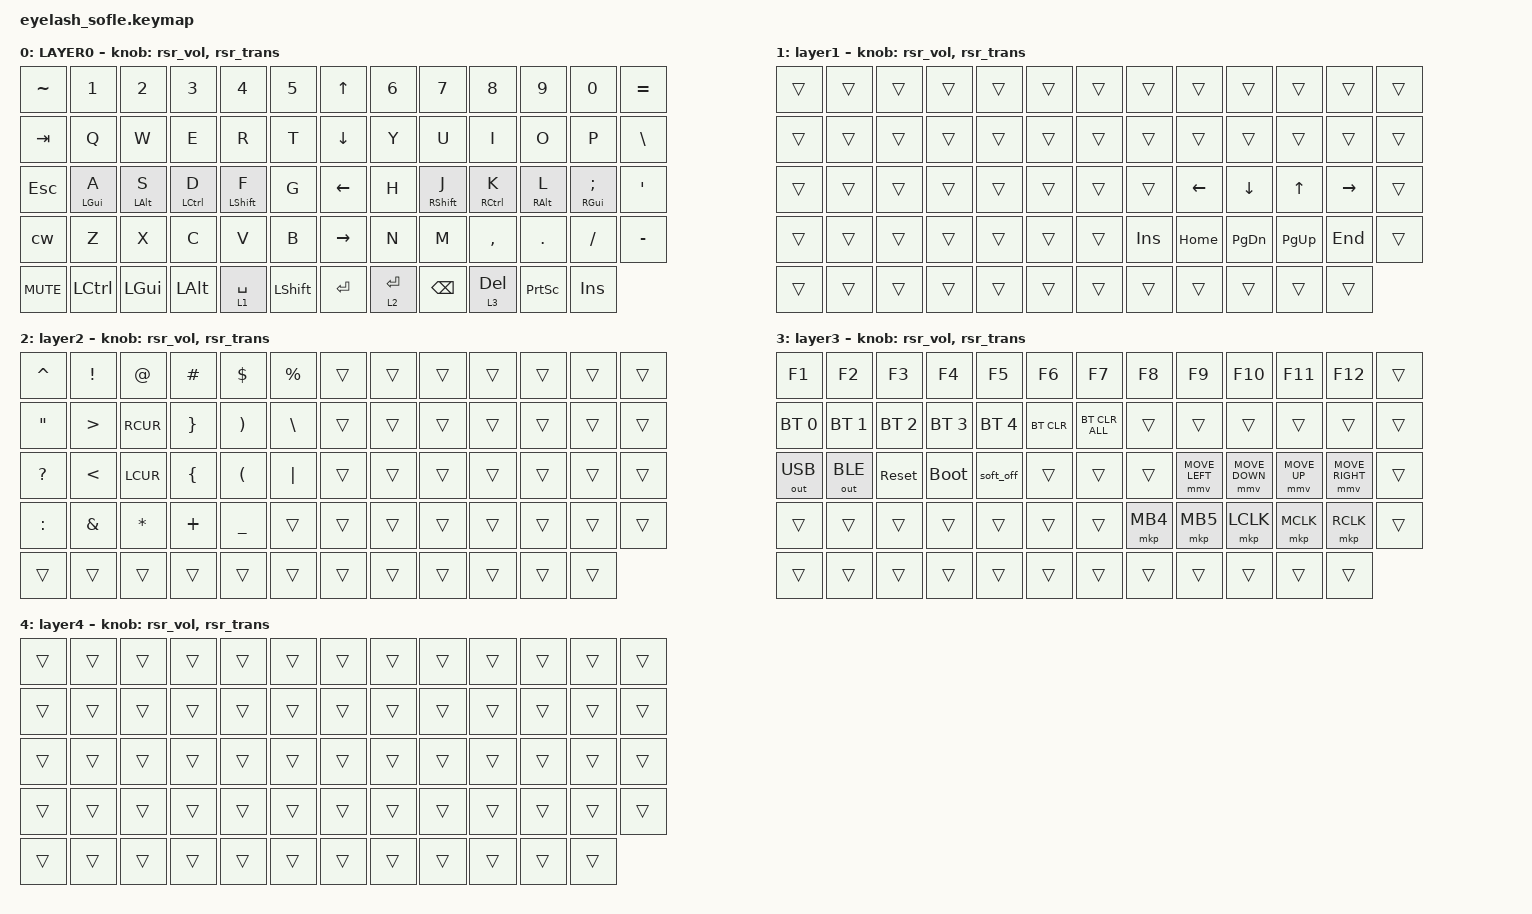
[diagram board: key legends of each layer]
#define ZMK_POINTING_DEFAULT_MOVE_VAL 1200  // 600
#define ZMK_POINTING_DEFAULT_SCRL_VAL 25   // 10

#include <input/processors.dtsi>
#include <zephyr/dt-bindings/input/input-event-codes.h>
#include <behaviors.dtsi>
#include <behaviors/runtime-sensor-rotate.dtsi>
#include <dt-bindings/zmk/bt.h>
#include <dt-bindings/zmk/keys.h>
#include <dt-bindings/zmk/outputs.h>
#include <dt-bindings/zmk/pointing.h>
#include <dt-bindings/zmk/rgb.h>

&mmv_input_listener { input-processors = <&zip_xy_scaler 2 1>; };

&msc_input_listener { input-processors = <&zip_scroll_scaler 2 1>; };

&msc {
    acceleration-exponent = <1>;      // 0
    time-to-max-speed-ms = <100>;       // 300
    delay-ms = <0>;                   // 0
};

&mmv {
    time-to-max-speed-ms = <500>;
    acceleration-exponent = <1>;
    trigger-period-ms = <16>;
};

&soft_off { hold-time-ms = <2000>; };

/ {
    scroll_encoder: scroll_encoder {
        compatible = "zmk,behavior-sensor-rotate";
        #sensor-binding-cells = <0>;
        bindings = <&msc SCRL_DOWN>, <&msc SCRL_UP>;

        tap-ms = <100>;
    };

    behaviors {
        rsr_vol: rsr_vol {
            compatible = "zmk,behavior-runtime-sensor-rotate";
            #sensor-binding-cells = <0>;
            tap-ms = <5>;
            cw-binding = <&kp C_VOL_UP>;
            ccw-binding = <&kp C_VOL_DN>;
        };

        rsr_trans: rsr_trans {
            compatible = "zmk,behavior-runtime-sensor-rotate";
            #sensor-binding-cells = <0>;
            tap-ms = <0>;
        };

        cw: cw {
            compatible = "zmk,behavior-caps-word";
            #binding-cells = <0>;
            continue-list = <UNDERSCORE BACKSPACE DELETE>;
            label = "CW";
        };

        hml: hml {
            compatible = "zmk,behavior-hold-tap";
            #binding-cells = <2>;
            flavor = "balanced";
            tapping-term-ms = <200>;
            quick-tap-ms = <175>;
            require-prior-idle-ms = <150>;
            hold-trigger-on-release;
            hold-trigger-key-positions = <29 30 31 32 33 34 35 36 37 38 39 40 41 42 43 44 45 46 47 48 49 50 51 52 53 54 55 56 57 12 13 14 15 16 17 24 25 26 27 28>;
            bindings = <&kp>, <&kp>;
            label = "HML";
        };

        hmr: hmr {
            compatible = "zmk,behavior-hold-tap";
            #binding-cells = <2>;
            flavor = "balanced";
            tapping-term-ms = <200>;
            quick-tap-ms = <175>;
            require-prior-idle-ms = <150>;
            hold-trigger-on-release;
            hold-trigger-key-positions = <0 1 2 3 4 5 6 7 8 9 10 11 12 13 14 15 16 17 18 19 20 21 22 23 24 25 26 27 28 41 42 43 44 45 46 53 54 55 56 57>;
            bindings = <&kp>, <&kp>;
            label = "HMR";
        };
    };

    combos {
        compatible = "zmk,combos";

        softoff {
            bindings = <&soft_off>;
            key-positions = <14 28 40>;
        };
    };

    macros {
        SHIFT_MCLK: SHIFT_MCLK {
            compatible = "zmk,behavior-macro";
            #binding-cells = <0>;
            bindings =
                <&macro_press>,
                <&kp LEFT_SHIFT>,
                <&macro_press>,
                <&mkp MB3>,
                <&macro_pause_for_release>,
                <&macro_release>,
                <&kp LEFT_SHIFT &mkp MB3>;

            label = "SHIFT_MCLK";
        };
    };

    keymap {
        compatible = "zmk,keymap";

        layer0 {
            bindings = <
&kp TILDE     &kp N1     &kp N2        &kp N3        &kp N4  &kp N5       &kp UP_ARROW     &kp N6     &kp N7     &kp N8     &kp N9           &kp N0      &kp EQUAL
&kp TAB     &kp Q      &kp W         &kp E         &kp R   &kp T        &kp DOWN_ARROW   &kp Y      &kp U      &kp I      &kp O            &kp P       &kp BSLH
&kp ESC    &hml LGUI A  &hml LALT S  &hml LCTRL D  &hml LSHFT F  &kp G        &kp LEFT_ARROW   &kp H      &hmr RSHFT J  &hmr RCTRL K  &hmr RALT L  &hmr RGUI SEMI    &kp APOS
&cw          &kp Z      &kp X         &kp C         &kp V   &kp B        &kp RIGHT_ARROW  &kp N      &kp M      &kp COMMA  &kp DOT          &kp FSLH    &kp MINUS
&kp C_MUTE  &kp LCTRL  &kp LEFT_GUI  &kp LEFT_ALT  &lt 1 SPACE   &kp LEFT_SHIFT  &kp ENTER &lt 2 ENTER    &kp BACKSPACE  &lt 3 DELETE      &kp PRINTSCREEN  &kp INSERT
            >;

            sensor-bindings = <&rsr_vol &rsr_trans>;
            display-name = "LAYER0";
        };

        layer_1 {
            bindings = <
&trans     &trans  &trans  &trans  &trans  &trans      &trans  &trans  &trans  &trans  &trans  &trans  &trans
&trans     &trans  &trans  &trans  &trans  &trans      &trans  &trans  &trans  &trans  &trans  &trans  &trans
&trans     &trans  &trans  &trans  &trans  &trans      &trans  &trans  &kp LEFT  &kp DOWN  &kp UP  &kp RIGHT  &trans
&trans     &trans  &trans  &trans  &trans  &trans      &trans  &kp INSERT  &kp HOME  &kp PG_DN  &kp PG_UP  &kp END  &trans
&trans     &trans  &trans  &trans  &trans  &trans      &trans  &trans  &trans  &trans  &trans  &trans
            >;

            display-name = "layer1";
            sensor-bindings = <&rsr_vol &rsr_trans>;
        };

        layer_2 {
            bindings = <
&kp CARET  &kp EXCL  &kp AT  &kp HASH  &kp DOLLAR  &kp PERCENT    &trans  &trans  &trans  &trans  &trans  &trans  &trans
&kp DQT    &kp GT   &kp RCUR  &kp RBRC  &kp RPAR  &kp BSLH       &trans  &trans  &trans  &trans  &trans  &trans  &trans
&kp QUESTION  &kp LT  &kp LCUR  &kp LBRC  &kp LPAR  &kp PIPE     &trans  &trans  &trans  &trans  &trans  &trans  &trans
&kp COLON  &kp AMPERSAND  &kp STAR  &kp PLUS  &kp UNDER  &trans  &trans  &trans  &trans  &trans  &trans  &trans  &trans
&trans     &trans  &trans  &trans  &trans  &trans      &trans  &trans  &trans  &trans  &trans  &trans
            >;

            display-name = "layer2";
            sensor-bindings = <&rsr_vol &rsr_trans>;
        };

        layer_3 {
            bindings = <
&kp F1  &kp F2  &kp F3  &kp F4  &kp F5  &kp F6     &kp F7  &kp F8  &kp F9  &kp F10  &kp F11  &kp F12  &trans
&bt BT_SEL 0  &bt BT_SEL 1  &bt BT_SEL 2  &bt BT_SEL 3  &bt BT_SEL 4  &bt BT_CLR  &bt BT_CLR_ALL  &trans  &trans  &trans  &trans  &trans  &trans
&out OUT_USB  &out OUT_BLE  &sys_reset  &bootloader  &soft_off  &trans  &trans  &trans  &mmv MOVE_LEFT  &mmv MOVE_DOWN  &mmv MOVE_UP  &mmv MOVE_RIGHT  &trans
&trans  &trans  &trans  &trans  &trans  &trans     &trans  &mkp MB4  &mkp MB5  &mkp LCLK  &mkp MCLK  &mkp RCLK  &trans
&trans  &trans  &trans  &trans  &trans  &trans     &trans  &trans  &trans  &trans  &trans  &trans
            >;

            display-name = "layer3";
            sensor-bindings = <&rsr_vol &rsr_trans>;
        };

        layer_4 {
            bindings = <
&trans  &trans  &trans  &trans  &trans  &trans    &trans  &trans  &trans  &trans  &trans  &trans  &trans
&trans  &trans  &trans  &trans  &trans  &trans    &trans  &trans  &trans  &trans  &trans  &trans  &trans
&trans  &trans  &trans  &trans  &trans  &trans    &trans  &trans  &trans  &trans  &trans  &trans  &trans
&trans  &trans  &trans  &trans  &trans  &trans    &trans  &trans  &trans  &trans  &trans  &trans  &trans
&trans  &trans  &trans  &trans  &trans  &trans    &trans  &trans  &trans  &trans  &trans  &trans
            >;

            display-name = "layer4";
            sensor-bindings = <&rsr_vol &rsr_trans>;
        };
    };
};
